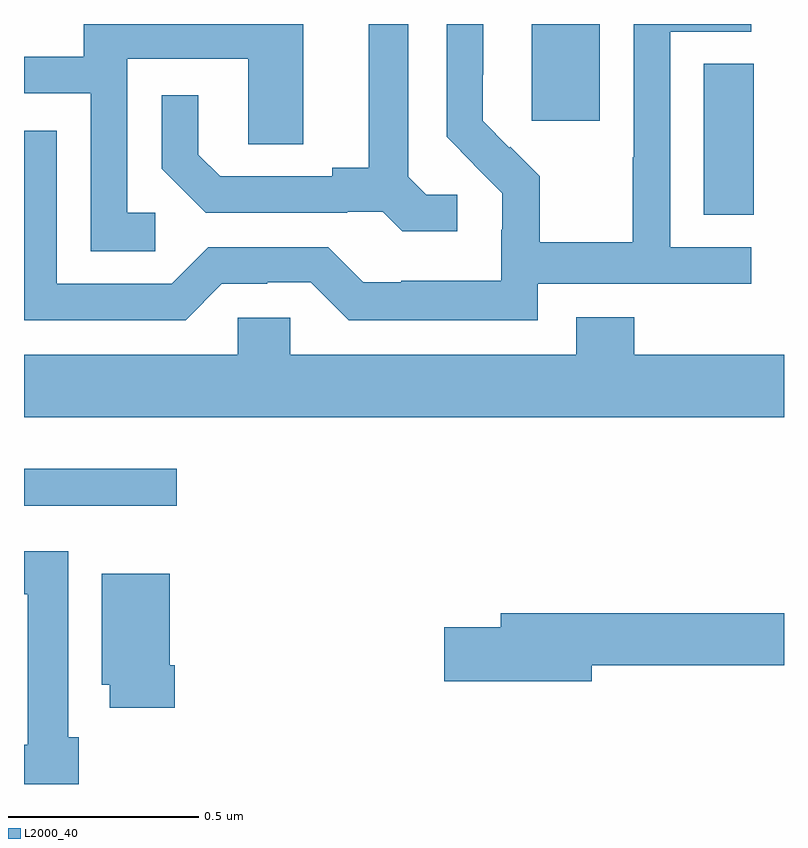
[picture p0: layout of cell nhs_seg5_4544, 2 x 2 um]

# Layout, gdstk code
import gdstk
lib = gdstk.Library(unit=1e-6, precision=1e-09)
def R(c, l, rs):  # rectangles x0, y0, x1, y1
    for r in rs: c.add(gdstk.rectangle(r[:2], r[2:], *l))
def P(c, l, *ps):  # polygons
    for p in ps: c.add(gdstk.Polygon(p, *l))
L2000_40 = (2000, 40)

nhs_seg5_4544 = lib.new_cell('nhs_seg5_4544')
R(nhs_seg5_4544, L2000_40, [(172,852.531,172.402,852.628), (173.789,853.297,173.92,853.694), (173.336,853.545,173.515,853.799)])
P(nhs_seg5_4544, L2000_40, [(173.14,853.35),(173.058,853.35),(173.011,853.397),(173.011,853.799),(172.907,853.799),(172.907,853.421),(172.811,853.421),(172.811,853.398),(172.516,853.398),(172.459,853.455),(172.459,853.612),(172.362,853.612),(172.362,853.418),(172.478,853.302),(172.85,853.302),(172.85,853.305),(172.944,853.305),(172.996,853.253),(173.14,853.253)],
  [(173.352,853.116),(173.914,853.116),(173.914,853.212),(173.7,853.212),(173.7,853.779),(173.914,853.779),(173.914,853.799),(173.604,853.799),(173.604,853.448),(173.602,853.448),(173.602,853.225),(173.357,853.225),(173.357,853.399),(173.28,853.476),(173.277,853.473),(173.207,853.544),(173.207,853.666),(173.208,853.666),(173.208,853.799),(173.112,853.799),(173.112,853.502),(173.185,853.429),(173.184,853.428),(173.258,853.354),(173.258,853.257),(173.256,853.257),(173.256,853.123),(172.993,853.123),(172.993,853.119),(172.893,853.119),(172.8,853.212),(172.485,853.212),(172.389,853.116),(172.086,853.116),(172.086,853.518),(172,853.518),(172,853.02),(172.425,853.02),(172.521,853.116),(172.64,853.116),(172.64,853.119),(172.755,853.119),(172.855,853.019),(173.352,853.019)],
  [(172.345,853.302),(172.272,853.302),(172.272,853.707),(172.59,853.707),(172.59,853.483),(172.735,853.483),(172.735,853.799),(172.157,853.799),(172.157,853.713),(172,853.713),(172,853.617),(172.176,853.617),(172.176,853.201),(172.345,853.201)],
  [(174,852.928),(173.606,852.928),(173.606,853.027),(173.453,853.027),(173.453,852.928),(172.701,852.928),(172.701,853.026),(172.563,853.026),(172.563,852.928),(172,852.928),(172,852.764),(174,852.764)],
  [(172.144,851.922),(172.117,851.922),(172.117,852.412),(172,852.412),(172,852.299),(172.01,852.299),(172.01,851.902),(172,851.902),(172,851.799),(172.144,851.799)],
  [(172.397,852.112),(172.384,852.112),(172.384,852.352),(172.205,852.352),(172.205,852.06),(172.226,852.06),(172.226,852),(172.397,852)],
  [(173.494,852.112),(174,852.112),(174,852.248),(173.255,852.248),(173.255,852.212),(173.106,852.212),(173.106,852.07),(173.494,852.07)])

lib.write_gds('nhs_seg5_4544.gds')
